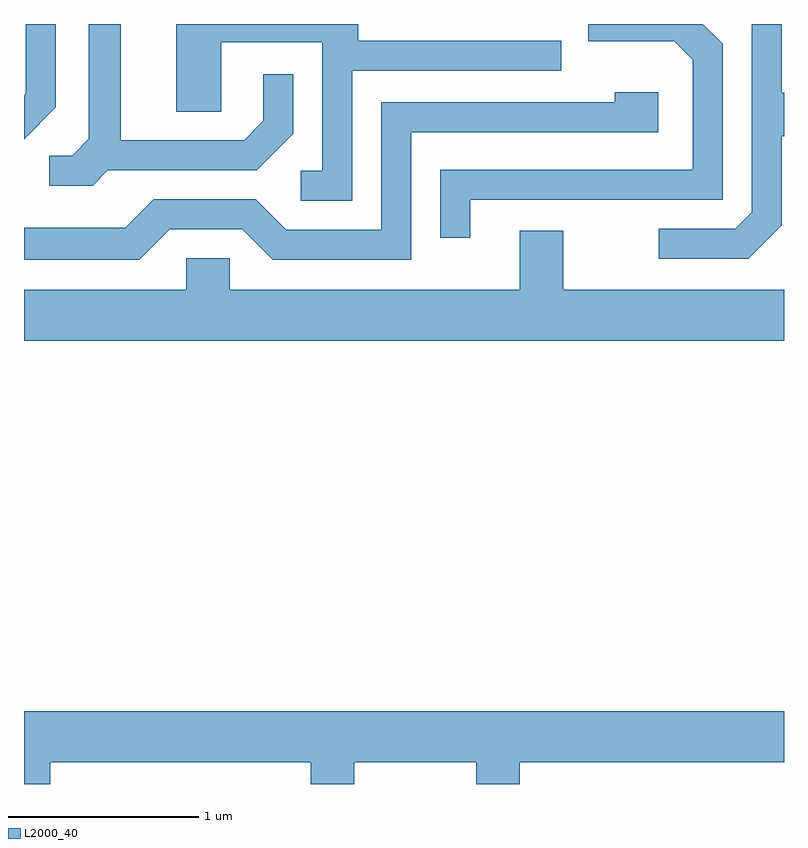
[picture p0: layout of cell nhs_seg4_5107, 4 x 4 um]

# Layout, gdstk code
import gdstk
lib = gdstk.Library(unit=1e-6, precision=1e-09)
def P(c, l, *ps):  # polygons
    for p in ps: c.add(gdstk.Polygon(p, *l))
L2000_40 = (2000, 40)

nhs_seg4_5107 = lib.new_cell('nhs_seg4_5107')
P(nhs_seg4_5107, L2000_40, [(337.339,1271.736),(338.438,1271.736),(338.438,1271.894),(337.369,1271.894),(337.369,1271.982),(336.411,1271.982),(336.411,1271.521),(336.649,1271.521),(336.649,1271.886),(337.181,1271.886),(337.181,1271.209),(337.068,1271.209),(337.068,1271.051),(337.339,1271.051)],
  [(337.959,1271.056),(339.289,1271.056),(339.289,1271.877),(339.184,1271.982),(338.581,1271.982),(338.581,1271.891),(339.034,1271.891),(339.131,1271.794),(339.131,1271.214),(337.801,1271.214),(337.801,1270.858),(337.959,1270.858)],
  [(336.052,1271.211),(336.837,1271.211),(337.029,1271.404),(337.029,1271.718),(336.871,1271.718),(336.871,1271.472),(336.769,1271.369),(336.119,1271.369),(336.119,1271.982),(335.951,1271.982),(335.951,1271.377),(335.864,1271.289),(335.743,1271.289),(335.743,1271.131),(335.972,1271.131)],
  [(335.779,1271.544),(335.779,1271.982),(335.621,1271.982),(335.621,1271.617),(335.611,1271.607),(335.611,1271.376)],
  [(339.599,1270.924),(339.599,1271.391),(339.611,1271.391),(339.611,1271.619),(339.599,1271.619),(339.599,1271.982),(339.441,1271.982),(339.441,1270.992),(339.354,1270.904),(338.953,1270.904),(338.953,1270.746),(339.422,1270.746)],
  [(336.377,1270.901),(336.759,1270.901),(336.919,1270.741),(337.649,1270.741),(337.649,1271.411),(338.949,1271.411),(338.949,1271.624),(338.721,1271.624),(338.721,1271.569),(337.491,1271.569),(337.491,1270.899),(336.992,1270.899),(336.832,1271.059),(336.294,1271.059),(336.144,1270.909),(335.611,1270.909),(335.611,1270.741),(336.217,1270.741)],
  [(339.611,1270.584),(338.449,1270.584),(338.449,1270.894),(338.221,1270.894),(338.221,1270.584),(336.694,1270.584),(336.694,1270.749),(336.466,1270.749),(336.466,1270.584),(335.611,1270.584),(335.611,1270.316),(339.611,1270.316)],
  [(335.749,1268.096),(337.121,1268.096),(337.121,1267.982),(337.349,1267.982),(337.349,1268.096),(337.991,1268.096),(337.991,1267.982),(338.219,1267.982),(338.219,1268.096),(339.611,1268.096),(339.611,1268.364),(335.611,1268.364),(335.611,1267.982),(335.749,1267.982)])

lib.write_gds('nhs_seg4_5107.gds')
